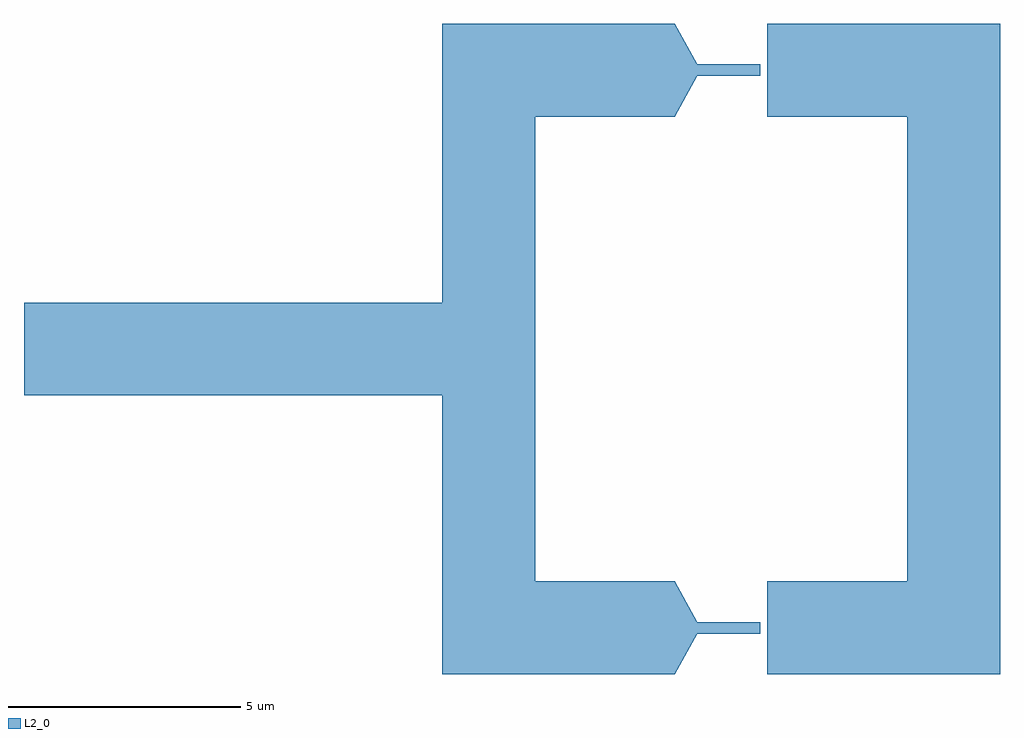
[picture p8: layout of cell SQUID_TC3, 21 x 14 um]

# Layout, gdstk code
import gdstk
lib = gdstk.Library(unit=1e-6, precision=1e-09)
def R(c, l, rs):  # rectangles x0, y0, x1, y1
    for r in rs: c.add(gdstk.rectangle(r[:2], r[2:], *l))
def P(c, l, *ps):  # polygons
    for p in ps: c.add(gdstk.Polygon(p, *l))
L2_0 = (2, 0)

squid_tc3 = lib.new_cell('SQUID_TC3')
R(squid_tc3, L2_0, [(-2.5,-7,-0.5,7), (-0.5,-7,2.505,-5), (4.495,-7,7.5,-5), (7.5,-7,9.5,7), (2.985,-6.126,4.345,-5.874), (-11.5,-1,-2.5,1), (-0.5,5,2.505,7), (4.495,5,7.5,7), (2.985,5.874,4.345,6.126)])
P(squid_tc3, L2_0, [(2.505,-7),(2.985,-6.126),(2.985,-5.874),(2.505,-5)],
  [(2.505,5),(2.985,5.874),(2.985,6.126),(2.505,7)])

lib.write_gds('SQUID_TC3.gds')
